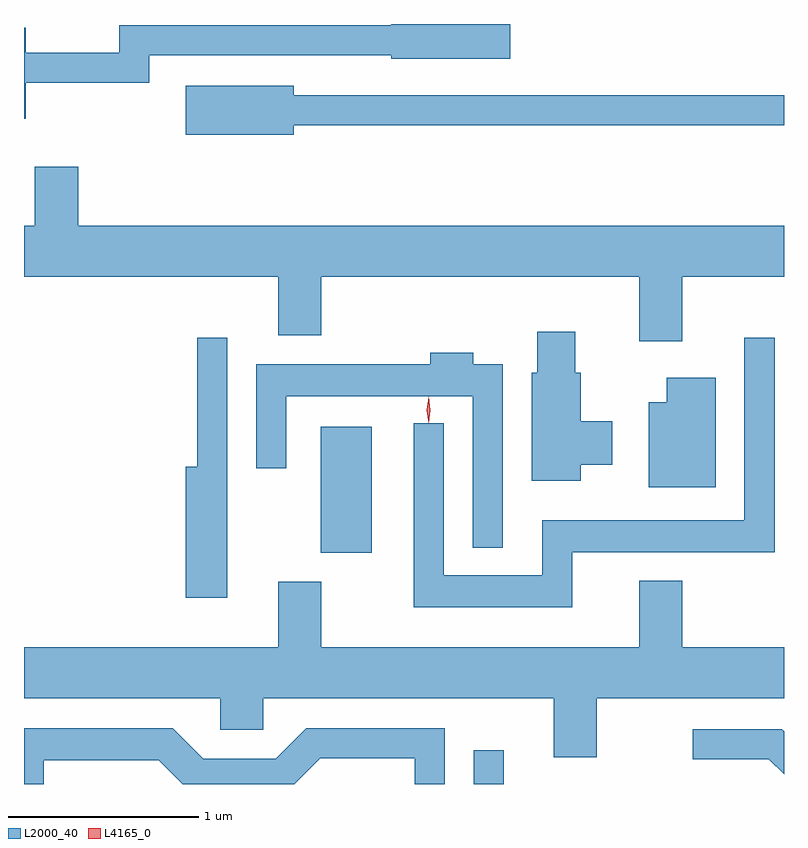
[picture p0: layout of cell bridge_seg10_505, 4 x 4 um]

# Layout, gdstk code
import gdstk
lib = gdstk.Library(unit=1e-6, precision=1e-09)
def R(c, l, rs):  # rectangles x0, y0, x1, y1
    for r in rs: c.add(gdstk.rectangle(r[:2], r[2:], *l))
def P(c, l, *ps):  # polygons
    for p in ps: c.add(gdstk.Polygon(p, *l))
L2000_40 = (2000, 40)
L4165_0 = (4165, 0)

bridge_seg10_505 = lib.new_cell('bridge_seg10_505')
R(bridge_seg10_505, L2000_40, [(764.411,2148.985,764.569,2149.163), (763.606,2150.201,763.874,2150.864)])
P(bridge_seg10_505, L2000_40, [(762.054,2152.676),(762.704,2152.676),(762.704,2152.821),(763.976,2152.821),(763.976,2152.801),(764.604,2152.801),(764.604,2152.985),(763.976,2152.985),(763.976,2152.979),(762.546,2152.979),(762.546,2152.834),(762.054,2152.834),(762.054,2152.964),(762.044,2152.964),(762.044,2152.486),(762.054,2152.486)],
  [(763.464,2152.451),(766.044,2152.451),(766.044,2152.609),(763.464,2152.609),(763.464,2152.659),(762.896,2152.659),(762.896,2152.401),(763.464,2152.401)],
  [(762.329,2152.234),(762.101,2152.234),(762.101,2151.924),(762.044,2151.924),(762.044,2151.656),(763.381,2151.656),(763.381,2151.346),(763.609,2151.346),(763.609,2151.656),(765.281,2151.656),(765.281,2151.316),(765.509,2151.316),(765.509,2151.656),(766.044,2151.656),(766.044,2151.924),(762.329,2151.924)],
  [(764.974,2150.666),(765.139,2150.666),(765.139,2150.894),(764.974,2150.894),(764.974,2151.149),(764.944,2151.149),(764.944,2151.364),(764.746,2151.364),(764.746,2151.149),(764.716,2151.149),(764.716,2150.581),(764.974,2150.581)],
  [(763.114,2151.333),(762.956,2151.333),(762.956,2150.654),(762.896,2150.654),(762.896,2149.966),(763.114,2149.966)],
  [(764.929,2150.206),(765.994,2150.206),(765.994,2151.333),(765.836,2151.333),(765.836,2150.374),(764.771,2150.374),(764.771,2150.084),(764.254,2150.084),(764.254,2150.883),(764.096,2150.883),(764.096,2149.916),(764.929,2149.916)],
  [(764.564,2151.194),(764.409,2151.194),(764.409,2151.254),(764.181,2151.254),(764.181,2151.194),(763.266,2151.194),(763.266,2150.648),(763.424,2150.648),(763.424,2151.026),(764.406,2151.026),(764.406,2150.228),(764.564,2150.228)],
  [(765.684,2151.124),(765.426,2151.124),(765.426,2150.994),(765.331,2150.994),(765.331,2150.546),(765.684,2150.546)],
  [(762.044,2149.436),(763.076,2149.436),(763.076,2149.271),(763.304,2149.271),(763.304,2149.436),(764.831,2149.436),(764.831,2149.126),(765.059,2149.126),(765.059,2149.436),(766.044,2149.436),(766.044,2149.704),(765.509,2149.704),(765.509,2150.054),(765.281,2150.054),(765.281,2149.704),(763.609,2149.704),(763.609,2150.049),(763.381,2150.049),(763.381,2149.704),(762.044,2149.704)],
  [(762.149,2149.111),(762.754,2149.111),(762.88,2148.985),(763.466,2148.985),(763.602,2149.121),(764.101,2149.121),(764.101,2148.985),(764.259,2148.985),(764.259,2149.279),(763.529,2149.279),(763.369,2149.119),(762.987,2149.119),(762.827,2149.279),(762.044,2149.279),(762.044,2148.985),(762.149,2148.985)],
  [(766.044,2149.262),(766.032,2149.274),(765.563,2149.274),(765.563,2149.116),(765.964,2149.116),(766.044,2149.036)])
P(bridge_seg10_505, L4165_0, [(764.173,2150.883),(764.173,2150.884),(764.163,2150.953),(764.173,2151.022),(764.173,2151.023),(764.174,2151.022),(764.183,2150.953),(764.174,2150.884)])

lib.write_gds('bridge_seg10_505.gds')
